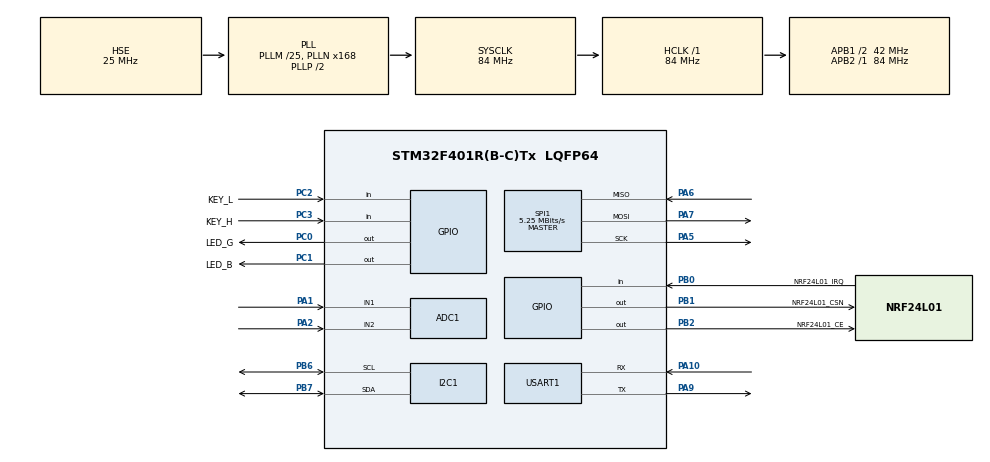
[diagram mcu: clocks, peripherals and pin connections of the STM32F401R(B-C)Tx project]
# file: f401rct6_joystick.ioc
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ADC1.Channel-3\#ChannelRegularConversion=ADC_CHANNEL_1
ADC1.Channel-4\#ChannelRegularConversion=ADC_CHANNEL_2
ADC1.NbrOfConversion=2
ADC1.NbrOfConversionFlag=1
ADC1.Rank-3\#ChannelRegularConversion=1
ADC1.Rank-4\#ChannelRegularConversion=2
ADC1.SamplingTime-3\#ChannelRegularConversion=ADC_SAMPLETIME_3CYCLES
ADC1.SamplingTime-4\#ChannelRegularConversion=ADC_SAMPLETIME_3CYCLES
ADC1.master=1
I2C1.I2C_Mode=I2C_Standard
Mcu.Family=STM32F4
Mcu.Name=STM32F401R(B-C)Tx
Mcu.Package=LQFP64
NVIC.PriorityGroup=NVIC_PRIORITYGROUP_4
PA1.Signal=ADCx_IN1
PA10.Mode=Asynchronous
PA10.Signal=USART1_RX
PA13.Mode=Serial_Wire
PA13.Signal=SYS_JTMS-SWDIO
PA14.Mode=Serial_Wire
PA14.Signal=SYS_JTCK-SWCLK
PA2.Signal=ADCx_IN2
PA5.Mode=Full_Duplex_Master
PA5.Signal=SPI1_SCK
PA6.Mode=Full_Duplex_Master
PA6.Signal=SPI1_MISO
PA7.Mode=Full_Duplex_Master
PA7.Signal=SPI1_MOSI
PA9.Mode=Asynchronous
PA9.Signal=USART1_TX
PB0.GPIO_Label=NRF24L01_IRQ
PB0.Signal=GPIO_Input
PB1.GPIO_Label=NRF24L01_CSN
PB1.GPIO_Speed=GPIO_SPEED_FREQ_HIGH
PB1.PinState=GPIO_PIN_SET
PB1.Signal=GPIO_Output
PB2.GPIO_Label=NRF24L01_CE
PB2.GPIO_Speed=GPIO_SPEED_FREQ_HIGH
PB2.PinState=GPIO_PIN_SET
PB2.Signal=GPIO_Output
PB6.Mode=I2C
PB6.Signal=I2C1_SCL
PB7.Mode=I2C
PB7.Signal=I2C1_SDA
PC0.GPIO_Label=LED_G
PC0.Signal=GPIO_Output
PC1.GPIO_Label=LED_B
PC1.Signal=GPIO_Output
PC14-OSC32_IN.Mode=LSE-External-Oscillator
PC14-OSC32_IN.Signal=RCC_OSC32_IN
PC15-OSC32_OUT.Mode=LSE-External-Oscillator
PC15-OSC32_OUT.Signal=RCC_OSC32_OUT
PC2.GPIO_Label=KEY_L
PC2.Signal=GPIO_Input
PC3.GPIO_Label=KEY_H
PC3.Signal=GPIO_Input
PH0\ -\ OSC_IN.Mode=HSE-External-Oscillator
PH0\ -\ OSC_IN.Signal=RCC_OSC_IN
PH1\ -\ OSC_OUT.Mode=HSE-External-Oscillator
PH1\ -\ OSC_OUT.Signal=RCC_OSC_OUT
ProjectManager.HeapSize=0x200
ProjectManager.StackSize=0x400
ProjectManager.TargetToolchain=STM32CubeIDE
RCC.48MHZClocksFreq_Value=42000000
RCC.AHBFreq_Value=84000000
RCC.APB1CLKDivider=RCC_HCLK_DIV2
RCC.APB1Freq_Value=42000000
RCC.APB1TimFreq_Value=84000000
RCC.APB2Freq_Value=84000000
RCC.APB2TimFreq_Value=84000000
RCC.CortexFreq_Value=84000000
RCC.HCLKFreq_Value=84000000
RCC.HSE_VALUE=25000000
RCC.HSI_VALUE=16000000
RCC.PLLM=25
RCC.PLLN=168
RCC.PLLSourceVirtual=RCC_PLLSOURCE_HSE
RCC.SYSCLKFreq_VALUE=84000000
RCC.SYSCLKSource=RCC_SYSCLKSOURCE_PLLCLK
RCC.VCOOutputFreq_Value=168000000
SH.ADCx_IN1.0=ADC1_IN1,IN1
SH.ADCx_IN2.0=ADC1_IN2,IN2
SPI1.BaudRatePrescaler=SPI_BAUDRATEPRESCALER_16
SPI1.CalculateBaudRate=5.25 MBits/s
SPI1.Direction=SPI_DIRECTION_2LINES
SPI1.Mode=SPI_MODE_MASTER
SPI1.VirtualType=VM_MASTER
USART1.VirtualMode=VM_ASYNC
board=custom

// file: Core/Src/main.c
/* USER CODE BEGIN Header */
/**
  ******************************************************************************
  * @file           : main.c
  * @brief          : Main program body
  ******************************************************************************
  * @attention
  *
  * Copyright (c) 2024 STMicroelectronics.
  * All rights reserved.
  *
  * This software is licensed under terms that can be found in the LICENSE file
  * in the root directory of this software component.
  * If no LICENSE file comes with this software, it is provided AS-IS.
  *
  ******************************************************************************
  */
/* USER CODE END Header */
#include "main.h"

ADC_HandleTypeDef hadc1;

I2C_HandleTypeDef hi2c1;

SPI_HandleTypeDef hspi1;

UART_HandleTypeDef huart1;

/* USER CODE BEGIN PV */
uint32_t mode;
/* USER CODE END PV */

void SystemClock_Config(void);
static void MX_GPIO_Init(void);
static void MX_ADC1_Init(void);
static void MX_I2C1_Init(void);
static void MX_SPI1_Init(void);
static void MX_USART1_UART_Init(void);

int main(void)
{

  /* MCU Configuration--------------------------------------------------------*/

  /* Reset of all peripherals, Initializes the Flash interface and the Systick. */
  HAL_Init();

  /* Configure the system clock */
  SystemClock_Config();

  /* Initialize all configured peripherals */
  MX_GPIO_Init();
  MX_ADC1_Init();
  MX_I2C1_Init();
  MX_SPI1_Init();
  MX_USART1_UART_Init();
  /* USER CODE BEGIN 2 */
  SSD1306_Init();
  NRF24L01_Init();

    uint8_t isRx = 1; // switch rx/tx
    uint8_t nrf24l01Status = NRF24L01_Check();

    if (nrf24l01Status) {
    	if (isRx) {
    		NRF24L01_RxMode(46, 5);
    	} else {
    		NRF24L01_TxMode(46);
    	}
    }
  /* USER CODE END 2 */

  /* Infinite loop */
  /* USER CODE BEGIN WHILE */
  uint8_t buffer[] = {0x1,0x1,0x1,0x1,0x1};
  while (1)
  {
    /* USER CODE END WHILE */

    /* USER CODE BEGIN 3 */
	  if (nrf24l01Status) {
		  if (isRx) {
				NRF24L01_RxPacket(buffer, 5);
		  } else {
			  for (int i=0; i < 5; ++i) {
				  buffer[i] += 1;
			  }
			  NRF24L01_TxPacket(buffer, 5);
		  }
	  }
	  HAL_GPIO_WritePin(GPIOC, GPIO_PIN_0, GPIO_PIN_SET);
	  HAL_Delay(400);
	  HAL_GPIO_WritePin(GPIOC, GPIO_PIN_0, GPIO_PIN_RESET);
	  HAL_Delay(400);
  }
  /* USER CODE END 3 */
}

void SystemClock_Config(void)
{
  RCC_OscInitTypeDef RCC_OscInitStruct = {0};
  RCC_ClkInitTypeDef RCC_ClkInitStruct = {0};

  /** Configure the main internal regulator output voltage
  */
  __HAL_RCC_PWR_CLK_ENABLE();
  __HAL_PWR_VOLTAGESCALING_CONFIG(PWR_REGULATOR_VOLTAGE_SCALE2);

  /** Initializes the RCC Oscillators according to the specified parameters
  * in the RCC_OscInitTypeDef structure.
  */
  RCC_OscInitStruct.OscillatorType = RCC_OSCILLATORTYPE_HSE;
  RCC_OscInitStruct.HSEState = RCC_HSE_ON;
  RCC_OscInitStruct.PLL.PLLState = RCC_PLL_ON;
  RCC_OscInitStruct.PLL.PLLSource = RCC_PLLSOURCE_HSE;
  RCC_OscInitStruct.PLL.PLLM = 25;
  RCC_OscInitStruct.PLL.PLLN = 168;
  RCC_OscInitStruct.PLL.PLLP = RCC_PLLP_DIV2;
  RCC_OscInitStruct.PLL.PLLQ = 4;
  if (HAL_RCC_OscConfig(&RCC_OscInitStruct) != HAL_OK)
  {
    Error_Handler();
  }

  /** Initializes the CPU, AHB and APB buses clocks
  */
  RCC_ClkInitStruct.ClockType = RCC_CLOCKTYPE_HCLK|RCC_CLOCKTYPE_SYSCLK
                              |RCC_CLOCKTYPE_PCLK1|RCC_CLOCKTYPE_PCLK2;
  RCC_ClkInitStruct.SYSCLKSource = RCC_SYSCLKSOURCE_PLLCLK;
  RCC_ClkInitStruct.AHBCLKDivider = RCC_SYSCLK_DIV1;
  RCC_ClkInitStruct.APB1CLKDivider = RCC_HCLK_DIV2;
  RCC_ClkInitStruct.APB2CLKDivider = RCC_HCLK_DIV1;

  if (HAL_RCC_ClockConfig(&RCC_ClkInitStruct, FLASH_LATENCY_2) != HAL_OK)
  {
    Error_Handler();
  }
}

static void MX_ADC1_Init(void)
{

  ADC_ChannelConfTypeDef sConfig = {0};

  /** Configure the global features of the ADC (Clock, Resolution, Data Alignment and number of conversion)
  */
  hadc1.Instance = ADC1;
  hadc1.Init.ClockPrescaler = ADC_CLOCK_SYNC_PCLK_DIV4;
  hadc1.Init.Resolution = ADC_RESOLUTION_12B;
  hadc1.Init.ScanConvMode = ENABLE;
  hadc1.Init.ContinuousConvMode = DISABLE;
  hadc1.Init.DiscontinuousConvMode = DISABLE;
  hadc1.Init.ExternalTrigConvEdge = ADC_EXTERNALTRIGCONVEDGE_NONE;
  hadc1.Init.ExternalTrigConv = ADC_SOFTWARE_START;
  hadc1.Init.DataAlign = ADC_DATAALIGN_RIGHT;
  hadc1.Init.NbrOfConversion = 2;
  hadc1.Init.DMAContinuousRequests = DISABLE;
  hadc1.Init.EOCSelection = ADC_EOC_SINGLE_CONV;
  if (HAL_ADC_Init(&hadc1) != HAL_OK)
  {
    Error_Handler();
  }

  /** Configure for the selected ADC regular channel its corresponding rank in the sequencer and its sample time.
  */
  sConfig.Channel = ADC_CHANNEL_1;
  sConfig.Rank = 1;
  sConfig.SamplingTime = ADC_SAMPLETIME_3CYCLES;
  if (HAL_ADC_ConfigChannel(&hadc1, &sConfig) != HAL_OK)
  {
    Error_Handler();
  }

  /** Configure for the selected ADC regular channel its corresponding rank in the sequencer and its sample time.
  */
  sConfig.Channel = ADC_CHANNEL_2;
  sConfig.Rank = 2;
  if (HAL_ADC_ConfigChannel(&hadc1, &sConfig) != HAL_OK)
  {
    Error_Handler();
  }

}

static void MX_I2C1_Init(void)
{

  hi2c1.Instance = I2C1;
  hi2c1.Init.ClockSpeed = 100000;
  hi2c1.Init.DutyCycle = I2C_DUTYCYCLE_2;
  hi2c1.Init.OwnAddress1 = 0;
  hi2c1.Init.AddressingMode = I2C_ADDRESSINGMODE_7BIT;
  hi2c1.Init.DualAddressMode = I2C_DUALADDRESS_DISABLE;
  hi2c1.Init.OwnAddress2 = 0;
  hi2c1.Init.GeneralCallMode = I2C_GENERALCALL_DISABLE;
  hi2c1.Init.NoStretchMode = I2C_NOSTRETCH_DISABLE;
  if (HAL_I2C_Init(&hi2c1) != HAL_OK)
  {
    Error_Handler();
  }

}

static void MX_SPI1_Init(void)
{

  /* SPI1 parameter configuration*/
  hspi1.Instance = SPI1;
  hspi1.Init.Mode = SPI_MODE_MASTER;
  hspi1.Init.Direction = SPI_DIRECTION_2LINES;
  hspi1.Init.DataSize = SPI_DATASIZE_8BIT;
  hspi1.Init.CLKPolarity = SPI_POLARITY_LOW;
  hspi1.Init.CLKPhase = SPI_PHASE_1EDGE;
  hspi1.Init.NSS = SPI_NSS_SOFT;
  hspi1.Init.BaudRatePrescaler = SPI_BAUDRATEPRESCALER_16;
  hspi1.Init.FirstBit = SPI_FIRSTBIT_MSB;
  hspi1.Init.TIMode = SPI_TIMODE_DISABLE;
  hspi1.Init.CRCCalculation = SPI_CRCCALCULATION_DISABLE;
  hspi1.Init.CRCPolynomial = 10;
  if (HAL_SPI_Init(&hspi1) != HAL_OK)
  {
    Error_Handler();
  }

}

static void MX_USART1_UART_Init(void)
{

  huart1.Instance = USART1;
  huart1.Init.BaudRate = 115200;
  huart1.Init.WordLength = UART_WORDLENGTH_8B;
  huart1.Init.StopBits = UART_STOPBITS_1;
  huart1.Init.Parity = UART_PARITY_NONE;
  huart1.Init.Mode = UART_MODE_TX_RX;
  huart1.Init.HwFlowCtl = UART_HWCONTROL_NONE;
  huart1.Init.OverSampling = UART_OVERSAMPLING_16;
  if (HAL_UART_Init(&huart1) != HAL_OK)
  {
    Error_Handler();
  }

}

static void MX_GPIO_Init(void)
{
  GPIO_InitTypeDef GPIO_InitStruct = {0};

  /* GPIO Ports Clock Enable */
  __HAL_RCC_GPIOC_CLK_ENABLE();
  __HAL_RCC_GPIOH_CLK_ENABLE();
  __HAL_RCC_GPIOA_CLK_ENABLE();
  __HAL_RCC_GPIOB_CLK_ENABLE();

  /*Configure GPIO pin Output Level */
  HAL_GPIO_WritePin(GPIOC, LED_G_Pin|LED_B_Pin, GPIO_PIN_RESET);

  /*Configure GPIO pin Output Level */
  HAL_GPIO_WritePin(GPIOB, NRF24L01_CSN_Pin|NRF24L01_CE_Pin, GPIO_PIN_SET);

  /*Configure GPIO pins : LED_G_Pin LED_B_Pin */
  GPIO_InitStruct.Pin = LED_G_Pin|LED_B_Pin;
  GPIO_InitStruct.Mode = GPIO_MODE_OUTPUT_PP;
  GPIO_InitStruct.Pull = GPIO_NOPULL;
  GPIO_InitStruct.Speed = GPIO_SPEED_FREQ_LOW;
  HAL_GPIO_Init(GPIOC, &GPIO_InitStruct);

  /*Configure GPIO pins : KEY_L_Pin KEY_H_Pin */
  GPIO_InitStruct.Pin = KEY_L_Pin|KEY_H_Pin;
  GPIO_InitStruct.Mode = GPIO_MODE_INPUT;
  GPIO_InitStruct.Pull = GPIO_NOPULL;
  HAL_GPIO_Init(GPIOC, &GPIO_InitStruct);

  /*Configure GPIO pin : NRF24L01_IRQ_Pin */
  GPIO_InitStruct.Pin = NRF24L01_IRQ_Pin;
  GPIO_InitStruct.Mode = GPIO_MODE_INPUT;
  GPIO_InitStruct.Pull = GPIO_NOPULL;
  HAL_GPIO_Init(NRF24L01_IRQ_GPIO_Port, &GPIO_InitStruct);

  /*Configure GPIO pins : NRF24L01_CSN_Pin NRF24L01_CE_Pin */
  GPIO_InitStruct.Pin = NRF24L01_CSN_Pin|NRF24L01_CE_Pin;
  GPIO_InitStruct.Mode = GPIO_MODE_OUTPUT_PP;
  GPIO_InitStruct.Pull = GPIO_NOPULL;
  GPIO_InitStruct.Speed = GPIO_SPEED_FREQ_HIGH;
  HAL_GPIO_Init(GPIOB, &GPIO_InitStruct);

}

void Error_Handler(void)
{
  __disable_irq();
  while (1)
  {
  }
}
